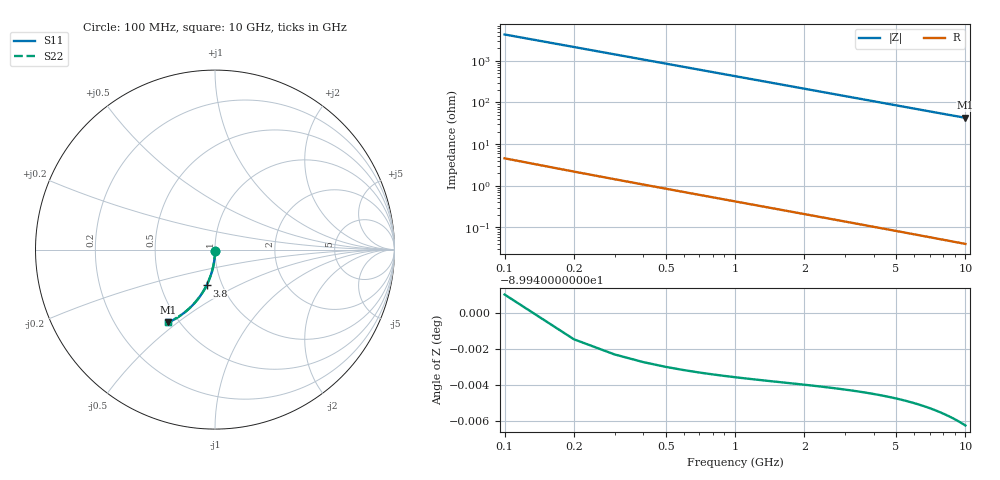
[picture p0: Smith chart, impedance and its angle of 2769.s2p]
# Hz S RI R 50.00
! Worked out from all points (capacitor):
!   100 points, 100 MHz to 10 GHz, reference 50 ohm
!   read as one part in shunt: C = 371 fF near 100 MHz
!   lowest |Z| = 42.9 ohm at 10 GHz (marker M1)
!   S11 on the Smith chart (normalised r, x): 100 MHz: 1.00, -0.01; 3.8 GHz: 0.84, -0.35; 10 GHz: 0.44, -0.46
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1e8  3.07e-05 -0.0055  0.9999 -0.00615  0.9999 -0.00615  3.07e-05 -0.0055
2e8  -7.59e-05 -0.011  0.9998 -0.0123  0.9998 -0.0123  -7.59e-05 -0.011
3e8  -0.00025 -0.0165  0.9996 -0.0184  0.9996 -0.0184  -0.00025 -0.0165
4e8  -0.000492 -0.022  0.9994 -0.0246  0.9994 -0.0246  -0.000492 -0.022
5e8  -0.000801 -0.0275  0.999 -0.0307  0.999 -0.0307  -0.000801 -0.0275
6e8  -0.00118 -0.033  0.9987 -0.0368  0.9987 -0.0368  -0.00118 -0.033
7e8  -0.00162 -0.0384  0.9982 -0.043  0.9982 -0.043  -0.00162 -0.0384
8e8  -0.00213 -0.0439  0.9977 -0.0491  0.9977 -0.0491  -0.00213 -0.0439
9e8  -0.00271 -0.0494  0.9971 -0.0552  0.9971 -0.0552  -0.00271 -0.0494
1.1e9  -0.00407 -0.0603  0.9958 -0.0674  0.9958 -0.0674  -0.00407 -0.0603
1.4e9  -0.0066 -0.0765  0.9932 -0.0856  0.9932 -0.0856  -0.0066 -0.0765
1.8e9  -0.0109 -0.098  0.9889 -0.1097  0.9889 -0.1097  -0.0109 -0.098
2.1e9  -0.0148 -0.1139  0.985 -0.1275  0.985 -0.1275  -0.0148 -0.1139
2.5e9  -0.0209 -0.1348  0.9788 -0.151  0.9788 -0.151  -0.0209 -0.1348
2.9e9  -0.0279 -0.1553  0.9718 -0.1741  0.9718 -0.1741  -0.0279 -0.1553
3.4e9  -0.038 -0.1802  0.9616 -0.2023  0.9616 -0.2023  -0.038 -0.1802
3.8e9  -0.0471 -0.1996  0.9524 -0.2243  0.9524 -0.2243  -0.0471 -0.1996
4.4e9  -0.0623 -0.2274  0.9371 -0.2561  0.9371 -0.2561  -0.0623 -0.2274
5.1e9  -0.0822 -0.258  0.9171 -0.2914  0.9171 -0.2914  -0.0822 -0.258
6.7e9  -0.1346 -0.3194  0.8643 -0.3634  0.8643 -0.3634  -0.1346 -0.3194
8.4e9  -0.1975 -0.3705  0.8008 -0.426  0.8008 -0.426  -0.1975 -0.3705
1e10  -0.2598 -0.4054  0.7378 -0.4719  0.7378 -0.4719  -0.2598 -0.4054
